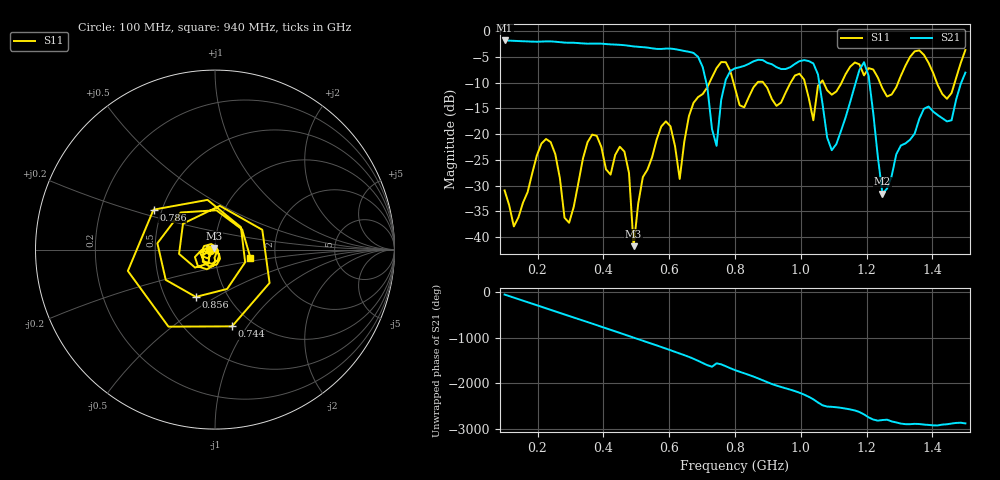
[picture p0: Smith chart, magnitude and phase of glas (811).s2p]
! NanoVNA-App
! Date: 2025-09-25 16:01:47
! Start: 100MHz Stop: 1,5GHz Points: 101
! S-Parameter data: F S11 S21 S12 S22
# Hz S RI R 50
!  Frequency  S11_Real  S11_Imag  S21_Real  S21_Imag  S12_Real  S12_Imag  S22_Real  S22_Imag
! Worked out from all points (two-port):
!   101 points, 100 MHz to 1.5 GHz, reference 50 ohm
!   highest |S21| = -1.80 dB at 100 MHz (marker M1); lowest = -31.5 dB at 1.248 GHz (marker M2)
!   |S21| within 3 dB of the highest: start of sweep to 684.4 MHz
!   lowest |S11| = -41.7 dB at 492 MHz (marker M3), VSWR 1.02, Z = 49.5 + j0.649 ohm
!   |S11| at or under -10 dB: start of sweep to 722.4 MHz; 795.5 MHz to 867.9 MHz (72.41 MHz wide, 8.71 % of centre); 886.1 MHz to 969 MHz (82.82 MHz wide, 8.93 % of centre)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
!   S12 and S22 are empty: the file has one direction only
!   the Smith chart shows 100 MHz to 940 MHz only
!   S11 on the Smith chart (normalised r, x): 100 MHz: 0.94, -0.01; 744 MHz: 0.81, -0.85; 786 MHz: 0.45, +0.24; 856 MHz: 0.71, -0.41; 940 MHz: 1.48, -0.14
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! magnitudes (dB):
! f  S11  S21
! 100 MHz  -30.9  -1.8
! 128 MHz  -37.9  -1.9
! 226 MHz  -20.9  -2.0
! 296 MHz  -37.2  -2.2
! 338 MHz  -24.7  -2.4
! 464 MHz  -23.4  -2.7
! 492 MHz  -41.7  -3.0
! 576 MHz  -18.5  -3.5
! 632 MHz  -28.7  -3.7
! 702 MHz  -12.2  -7.0
! 744 MHz  -7.2  -22.3
! 786 MHz  -7.8  -7.7
! 800 MHz  -11.1  -7.2
! 856 MHz  -10.9  -5.9
! 940 MHz  -13.9  -7.4
! 996 MHz  -8.3  -5.8
! 1.038 GHz  -17.3  -6.3
! 1.094 GHz  -12.3  -23.1
! 1.192 GHz  -8.6  -6.0
! 1.248 GHz  -11.1  -31.5
! 1.276 GHz  -12.3  -28.1
! 1.5 GHz  -3.7  -8.0
